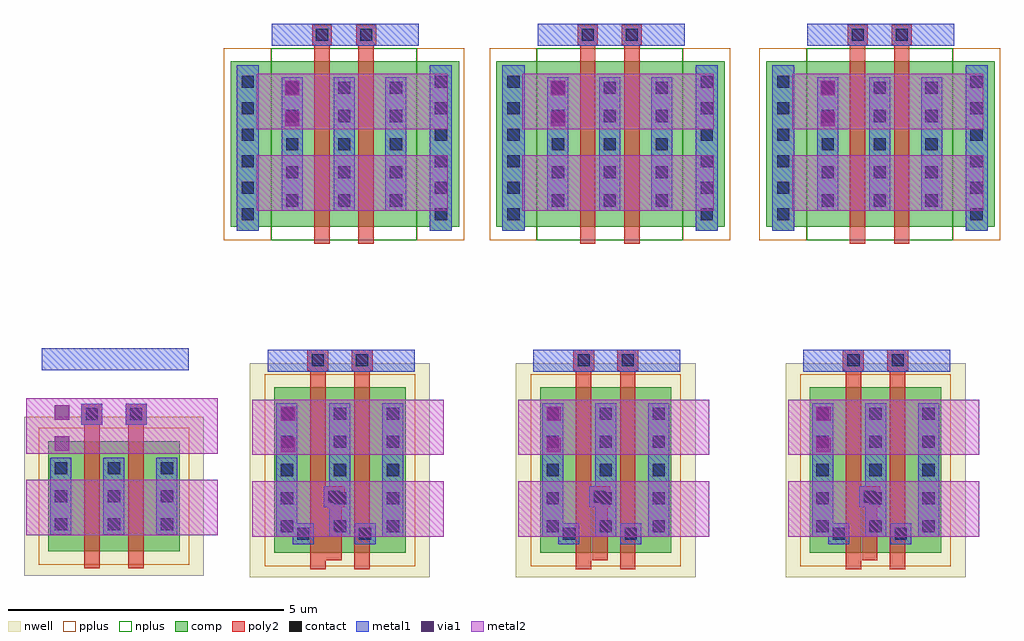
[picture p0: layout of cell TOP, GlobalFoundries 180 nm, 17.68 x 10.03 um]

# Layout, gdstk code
from math import pi, radians
import gdstk
lib = gdstk.Library(unit=1e-6, precision=1e-09)
def R(c, l, rs):  # rectangles x0, y0, x1, y1
    for r in rs: c.add(gdstk.rectangle(r[:2], r[2:], *l))
def A(c, l, x, y, w, h, nx, ny, dx, dy):  # array of equal rectangles
    R(c, l, [(x+i*dx, y+j*dy, x+i*dx+w, y+j*dy+h) for i in range(nx) for j in range(ny)])
nwell = (21, 0)
comp = (22, 0)
poly2 = (30, 0)
pplus = (31, 0)
nplus = (32, 0)
contact = (33, 0)
metal1 = (34, 0)
via1 = (35, 0)
metal2 = (36, 0)

via_dev = lib.new_cell('via_dev')
R(via_dev, comp, [(0,0,3,0.4)])
A(via_dev, contact, 0.19, 0.09, 0.22, 0.22, 6, 1, 0.48, 0)
R(via_dev, metal1, [(0,0,3,0.4)])

nfet = lib.new_cell('nfet')
R(nfet, comp, [(-0.42,0,0,3), (0,0,1.46,3), (1.46,0,1.88,3)])
R(nfet, poly2, [(0.19,-0.3,0.47,3.3), (0.99,-0.3,1.27,3.3), (0.15,3.3,0.51,3.66), (0.95,3.3,1.31,3.66)])
R(nfet, nplus, [(-0.59,-0.24,2.05,3.24)])
A(nfet, contact, -0.32, 0.37, 0.22, 0.22, 3, 5, 0.94, 0.51)
R(nfet, contact, [(0.22,3.37,0.44,3.59), (1.02,3.37,1.24,3.59)])
A(nfet, metal1, -0.4, 0.29, 0.38, 2.42, 3, 1, 0.94, 0)
R(nfet, metal1, [(0.14,3.289,0.52,3.671), (0.94,3.289,1.32,3.671)])

via_dev_1 = lib.new_cell('via_dev$1')
R(via_dev_1, comp, [(0,0,3,0.4)])
A(via_dev_1, contact, 0.19, 0.09, 0.22, 0.22, 6, 1, 0.48, 0)
R(via_dev_1, metal1, [(0,0,3,0.4)])

nfet_1 = lib.new_cell('nfet$1')
R(nfet_1, comp, [(-0.42,0,0,3), (0,0,1.46,3), (1.46,0,1.88,3)])
R(nfet_1, poly2, [(0.19,-0.3,0.47,3.3), (0.99,-0.3,1.27,3.3), (0.15,3.3,0.51,3.66), (0.95,3.3,1.31,3.66)])
R(nfet_1, nplus, [(-0.59,-0.24,2.05,3.24)])
A(nfet_1, contact, -0.32, 0.37, 0.22, 0.22, 3, 5, 0.94, 0.51)
R(nfet_1, contact, [(0.22,3.37,0.44,3.59), (1.02,3.37,1.24,3.59)])
A(nfet_1, metal1, -0.4, 0.29, 0.38, 2.42, 3, 1, 0.94, 0)
R(nfet_1, metal1, [(0.14,3.289,0.52,3.671), (0.94,3.289,1.32,3.671)])

unit_nmos_core = lib.new_cell('unit_nmos_core')
R(unit_nmos_core, comp, [(-1.325,0,2.815,3), (-1.325,0,2.815,3)])
R(unit_nmos_core, pplus, [(-1.45,-0.24,-0.59,3.24), (-1.45,-0.24,-0.59,3.24), (2.05,-0.24,2.91,3.24), (2.05,-0.24,2.91,3.24)])
R(unit_nmos_core, via1, [(-0.34,1.825,-0.08,2.085), (-0.34,1.825,-0.08,2.085), (-0.34,2.39,-0.08,2.65), (-0.34,2.39,-0.08,2.65)])
unit_nmos_core.add(gdstk.FlexPath([(-0.58,3.48),(2.085,3.48)], 0.4, ends="flush", simple_path=True, layer=34, datatype=0))  # metal1
unit_nmos_core.add(gdstk.FlexPath([(-0.58,3.48),(2.085,3.48)], 0.4, ends="flush", simple_path=True, layer=34, datatype=0))  # metal1
unit_nmos_core.add(gdstk.FlexPath([(-0.855,0.795),(2.61,0.795)], 1, ends="flush", simple_path=True, layer=36, datatype=0))  # metal2
unit_nmos_core.add(gdstk.FlexPath([(-0.855,2.275),(2.61,2.275)], 1, ends="flush", simple_path=True, layer=36, datatype=0))  # metal2
unit_nmos_core.add(gdstk.FlexPath([(-0.855,0.795),(2.61,0.795)], 1, ends="flush", simple_path=True, layer=36, datatype=0))  # metal2
unit_nmos_core.add(gdstk.FlexPath([(-0.855,2.275),(2.61,2.275)], 1, ends="flush", simple_path=True, layer=36, datatype=0))  # metal2
unit_nmos_core.add(gdstk.Reference(via_dev, (-0.815,-0.07), rotation=pi/2))
unit_nmos_core.add(gdstk.Reference(nfet, (0,0)))
unit_nmos_core.add(gdstk.Reference(via_dev, (2.685,-0.07), rotation=pi/2))
unit_nmos_core.add(gdstk.Reference(via_dev_1, (-0.815,-0.07), rotation=pi/2))
unit_nmos_core.add(gdstk.Reference(nfet_1, (0,0)))
unit_nmos_core.add(gdstk.Reference(via_dev_1, (2.685,-0.07), rotation=pi/2))

unit_nmos = lib.new_cell('unit_nmos')
unit_nmos.add(gdstk.Reference(unit_nmos_core, (0,0)))

pfet = lib.new_cell('pfet')
R(pfet, nwell, [(-0.9,-0.44,2.36,3.44)])
R(pfet, comp, [(-0.46,0,0,3), (0,0,1.46,3), (1.46,0,1.92,3)])
R(pfet, poly2, [(0.19,-0.3,0.47,3.3), (0.99,-0.3,1.27,3.3), (0.14,3.3,0.52,3.68), (0.94,3.3,1.32,3.68)])
R(pfet, pplus, [(-0.63,-0.24,2.09,3.24)])
A(pfet, contact, -0.34, 0.37, 0.22, 0.22, 3, 5, 0.96, 0.51)
R(pfet, contact, [(0.22,3.38,0.44,3.6), (1.02,3.38,1.24,3.6)])
A(pfet, metal1, -0.42, 0.29, 0.38, 2.42, 3, 1, 0.96, 0)
R(pfet, metal1, [(0.14,3.299,0.52,3.681), (0.94,3.299,1.32,3.681)])

pfet_1 = lib.new_cell('pfet$1')
R(pfet_1, nwell, [(-0.9,-0.45,1.56,0.81)])
R(pfet_1, comp, [(-0.46,-0.01,0,0.37), (0.66,-0.01,1.12,0.37), (0,0,0.66,0.36)])
R(pfet_1, poly2, [(0.19,-0.3,0.47,0.66), (0.14,0.66,0.52,1.04)])
R(pfet_1, pplus, [(-0.63,-0.24,1.29,0.6)])
R(pfet_1, contact, [(-0.34,0.07,-0.12,0.29), (0.78,0.07,1,0.29), (0.22,0.74,0.44,0.96)])
R(pfet_1, metal1, [(-0.42,-0.011,-0.04,0.371), (0.7,-0.011,1.08,0.371), (0.14,0.659,0.52,1.041)])

unit_pmos_core = lib.new_cell('unit_pmos_core')
R(unit_pmos_core, via1, [(-0.34,1.825,-0.08,2.085), (-0.34,2.39,-0.08,2.65)])
unit_pmos_core.add(gdstk.FlexPath([(-0.58,3.48),(2.085,3.48)], 0.4, ends="flush", simple_path=True, layer=34, datatype=0))  # metal1
unit_pmos_core.add(gdstk.FlexPath([(-0.855,0.795),(2.61,0.795)], 1, ends="flush", simple_path=True, layer=36, datatype=0))  # metal2
unit_pmos_core.add(gdstk.FlexPath([(-0.855,2.275),(2.61,2.275)], 1, ends="flush", simple_path=True, layer=36, datatype=0))  # metal2
unit_pmos_core.add(gdstk.Reference(pfet, (0,0)))
unit_pmos_core.add(gdstk.Reference(pfet_1, (0.295,0.165)))

unit_pmos = lib.new_cell('unit_pmos')
unit_pmos.add(gdstk.Reference(unit_pmos_core, (0,0)))

inv = lib.new_cell('inv')
inv.add(gdstk.Reference(unit_nmos, (-0.345,0.23)))
inv.add(gdstk.Reference(unit_pmos, (-0.42,-5.675)))

ring_osc = lib.new_cell('ring_osc')
ring_osc.add(gdstk.Reference(inv, (-4.455,0.715)))
ring_osc.add(gdstk.Reference(inv, (0.36,0.715)))
ring_osc.add(gdstk.Reference(inv, (5.25,0.715)))

pfet_2 = lib.new_cell('pfet$2')
R(pfet_2, nwell, [(-0.9,-0.44,2.36,2.44)])
R(pfet_2, comp, [(-0.46,0,0,2), (0,0,1.46,2), (1.46,0,1.92,2)])
R(pfet_2, poly2, [(0.19,-0.3,0.47,2.3), (0.99,-0.3,1.27,2.3), (0.14,2.3,0.52,2.68), (0.94,2.3,1.32,2.68)])
R(pfet_2, pplus, [(-0.63,-0.24,2.09,2.24)])
A(pfet_2, contact, -0.34, 0.38, 0.22, 0.22, 3, 3, 0.96, 0.51)
R(pfet_2, contact, [(0.22,2.38,0.44,2.6), (1.02,2.38,1.24,2.6)])
A(pfet_2, metal1, -0.42, 0.3, 0.38, 1.4, 3, 1, 0.96, 0)
R(pfet_2, metal1, [(0.14,2.299,0.52,2.681), (0.94,2.299,1.32,2.681)])

unit_pmos_1 = lib.new_cell('unit_pmos$1')
R(unit_pmos_1, via1, [(-0.34,1.825,-0.08,2.085), (-0.34,2.39,-0.08,2.65)])
unit_pmos_1.add(gdstk.FlexPath([(-0.58,3.48),(2.085,3.48)], 0.4, ends="flush", simple_path=True, layer=34, datatype=0))  # metal1
unit_pmos_1.add(gdstk.FlexPath([(-0.855,0.795),(2.61,0.795)], 1, ends="flush", simple_path=True, layer=36, datatype=0))  # metal2
unit_pmos_1.add(gdstk.FlexPath([(-0.855,2.275),(2.61,2.275)], 1, ends="flush", simple_path=True, layer=36, datatype=0))  # metal2
unit_pmos_1.add(gdstk.Reference(pfet_2, (0,0)))

top = lib.new_cell('TOP')
top.add(gdstk.Reference(ring_osc, (0.105,-0.375)))
top.add(gdstk.Reference(unit_pmos_1, (-8.865,-5.31)))

lib.write_gds('TOP.gds')
